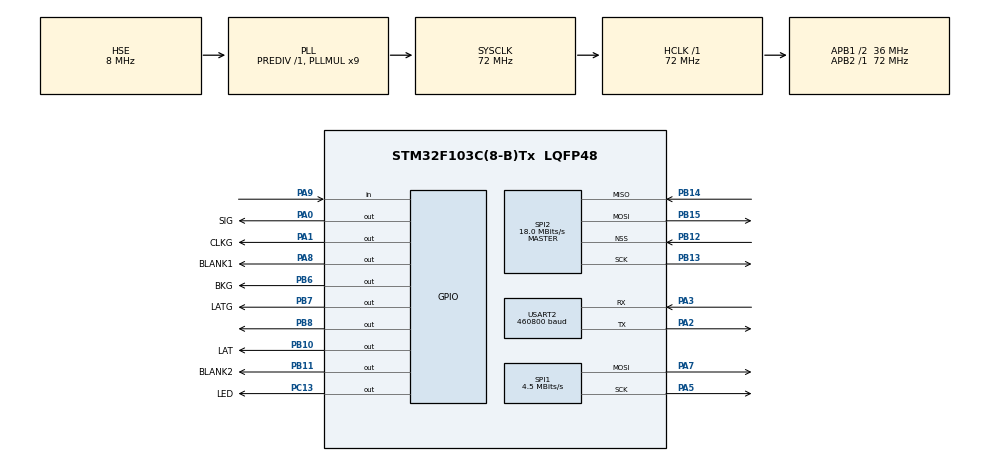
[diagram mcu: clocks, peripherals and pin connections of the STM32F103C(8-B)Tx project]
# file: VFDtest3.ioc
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Dma.Request0=SPI1_TX
Dma.SPI1_TX.0.Direction=DMA_MEMORY_TO_PERIPH
Dma.SPI1_TX.0.Instance=DMA1_Channel3
Dma.SPI1_TX.0.MemDataAlignment=DMA_MDATAALIGN_BYTE
Dma.SPI1_TX.0.MemInc=DMA_MINC_ENABLE
Dma.SPI1_TX.0.Mode=DMA_NORMAL
Dma.SPI1_TX.0.PeriphDataAlignment=DMA_PDATAALIGN_BYTE
Dma.SPI1_TX.0.PeriphInc=DMA_PINC_DISABLE
Dma.SPI1_TX.0.Priority=DMA_PRIORITY_VERY_HIGH
Mcu.Family=STM32F1
Mcu.Name=STM32F103C(8-B)Tx
Mcu.Package=LQFP48
NVIC.DMA1_Channel3_IRQn=true\:0\:0\:false\:false\:true\:false\:true\:true
NVIC.PriorityGroup=NVIC_PRIORITYGROUP_4
NVIC.TIM2_IRQn=true\:0\:0\:true\:false\:true\:true\:true\:true
NVIC.USART2_IRQn=true\:1\:0\:true\:false\:true\:true\:true\:true
PA0-WKUP.GPIO_Label=SIG
PA0-WKUP.GPIO_Speed=GPIO_SPEED_FREQ_HIGH
PA0-WKUP.Signal=GPIO_Output
PA1.GPIO_Label=CLKG
PA1.GPIO_Speed=GPIO_SPEED_FREQ_HIGH
PA1.Signal=GPIO_Output
PA13.Mode=Serial_Wire
PA13.Signal=SYS_JTMS-SWDIO
PA14.Mode=Serial_Wire
PA14.Signal=SYS_JTCK-SWCLK
PA2.Mode=Asynchronous
PA2.Signal=USART2_TX
PA3.Mode=Asynchronous
PA3.Signal=USART2_RX
PA5.Mode=TX_Only_Simplex_Unidirect_Master
PA5.Signal=SPI1_SCK
PA7.Mode=TX_Only_Simplex_Unidirect_Master
PA7.Signal=SPI1_MOSI
PA8.GPIO_Label=BLANK1
PA8.GPIO_Speed=GPIO_SPEED_FREQ_HIGH
PA8.Signal=GPIO_Output
PA9.Signal=GPIO_Input
PB10.GPIO_Label=LAT
PB10.GPIO_Speed=GPIO_SPEED_FREQ_HIGH
PB10.Signal=GPIO_Output
PB11.GPIO_Label=BLANK2
PB11.Signal=GPIO_Output
PB12.Mode=NSS_Signal_Hard_Input
PB12.Signal=SPI2_NSS
PB13.Mode=Full_Duplex_Master
PB13.Signal=SPI2_SCK
PB14.Mode=Full_Duplex_Master
PB14.Signal=SPI2_MISO
PB15.Mode=Full_Duplex_Master
PB15.Signal=SPI2_MOSI
PB6.GPIO_Label=BKG
PB6.GPIO_Speed=GPIO_SPEED_FREQ_HIGH
PB6.Signal=GPIO_Output
PB7.GPIO_Label=LATG
PB7.GPIO_Speed=GPIO_SPEED_FREQ_HIGH
PB7.Signal=GPIO_Output
PB8.GPIO_ModeDefaultOutputPP=GPIO_MODE_OUTPUT_PP
PB8.GPIO_PuPd=GPIO_NOPULL
PB8.Signal=GPIO_Output
PC13-TAMPER-RTC.GPIO_Label=LED
PC13-TAMPER-RTC.GPIO_ModeDefaultOutputPP=GPIO_MODE_OUTPUT_OD
PC13-TAMPER-RTC.GPIO_PuPd=GPIO_NOPULL
PC13-TAMPER-RTC.Signal=GPIO_Output
PD0-OSC_IN.Mode=HSE-External-Oscillator
PD0-OSC_IN.Signal=RCC_OSC_IN
PD1-OSC_OUT.Mode=HSE-External-Oscillator
PD1-OSC_OUT.Signal=RCC_OSC_OUT
ProjectManager.HeapSize=0x200
ProjectManager.StackSize=0x400
ProjectManager.TargetToolchain=STM32CubeIDE
RCC.AHBFreq_Value=72000000
RCC.APB1CLKDivider=RCC_HCLK_DIV2
RCC.APB1Freq_Value=36000000
RCC.APB1TimFreq_Value=72000000
RCC.APB2Freq_Value=72000000
RCC.APB2TimFreq_Value=72000000
RCC.HCLKFreq_Value=72000000
RCC.PLLMUL=RCC_PLL_MUL9
RCC.PLLSourceVirtual=RCC_PLLSOURCE_HSE
RCC.SYSCLKFreq_VALUE=72000000
RCC.SYSCLKSource=RCC_SYSCLKSOURCE_PLLCLK
RCC.USBFreq_Value=72000000
SPI1.BaudRatePrescaler=SPI_BAUDRATEPRESCALER_16
SPI1.CLKPhase=SPI_PHASE_2EDGE
SPI1.CLKPolarity=SPI_POLARITY_HIGH
SPI1.CalculateBaudRate=4.5 MBits/s
SPI1.Direction=SPI_DIRECTION_2LINES
SPI1.Mode=SPI_MODE_MASTER
SPI1.VirtualType=VM_MASTER
SPI2.CalculateBaudRate=18.0 MBits/s
SPI2.Direction=SPI_DIRECTION_2LINES
SPI2.Mode=SPI_MODE_MASTER
SPI2.VirtualNSS=VM_NSSHARD
SPI2.VirtualType=VM_MASTER
TIM2.Channel-Output\ Compare1\ No\ Output=TIM_CHANNEL_1
TIM2.Period=75-1
TIM2.Prescaler=36-1
USART2.BaudRate=460800
USART2.VirtualMode=VM_ASYNC
VP_TIM2_VS_ClockSourceINT.Mode=Internal
VP_TIM2_VS_no_output1.Mode=Output Compare1 No Output
board=custom

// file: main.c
/* USER CODE BEGIN Header */
/**
  ******************************************************************************
  * @file           : main.c
  * @brief          : MN12832JC Driver - High Refresh (400Hz)
  ******************************************************************************
  */
/* USER CODE END Header */
#include "main.h"

/* USER CODE BEGIN Includes */
#include <string.h>
#include <stdlib.h>
#include <stdio.h>
#include "u8g2.h"
#include <math.h>
/* USER CODE END Includes */

/* USER CODE BEGIN PTD */
typedef enum {
    ANIM_WAIT,          //filament warmup
    ANIM_DOT_TO_LINE,   //expand width
    ANIM_LINE_TO_BORDER,//expand height
    ANIM_INFO_HOLD,     //hold text
    ANIM_TEXT_COLLAPSE, //squeeze text vertically
    ANIM_SHRINK_HEIGHT, //reverse border
    ANIM_SHRINK_WIDTH,  //reverse line
    ANIM_DONE           //exit
} AnimationState;

typedef enum {
    UART_WAIT_SYNC1,
    UART_WAIT_SYNC2,
    UART_WAIT_BRIGHTNESS,
    UART_RECEIVE_DATA
} UartRxState;
/* USER CODE END PTD */

/* USER CODE BEGIN PD */
//hardware mappings
#define PORT_SIG    GPIOA
#define PIN_SIG     GPIO_PIN_0

#define PORT_CLKG   GPIOA
#define PIN_CLKG    GPIO_PIN_1

#define PORT_BLANK1 GPIOA
#define PIN_BLANK1  GPIO_PIN_8

#define PORT_BKG    GPIOB
#define PIN_BKG     GPIO_PIN_6

#define PORT_LATG   GPIOB
#define PIN_LATG    GPIO_PIN_7

#define PORT_LAT    GPIOB
#define PIN_LAT     GPIO_PIN_10

#define PORT_BLANK2 GPIOB
#define PIN_BLANK2  GPIO_PIN_11

#define PORT_TOUCH  GPIOA
#define PIN_TOUCH   GPIO_PIN_9

//fast gpio macros
#define FAST_PIN_HIGH(port, pin) (port)->BSRR = (pin)
#define FAST_PIN_LOW(port, pin)  (port)->BSRR = ((uint32_t)(pin) << 16)

//delay macros (72mhz)
#define DELAY_LAT() { \
    __NOP(); __NOP(); __NOP(); __NOP(); __NOP(); \
    __NOP(); __NOP(); __NOP(); __NOP(); __NOP(); \
    __NOP(); __NOP(); __NOP(); __NOP(); __NOP(); \
    __NOP(); __NOP(); __NOP(); __NOP(); __NOP(); \
    __NOP(); __NOP(); __NOP(); __NOP(); __NOP(); \
    __NOP(); __NOP(); __NOP(); __NOP(); __NOP(); \
}

#define DELAY_CLK() { \
    __NOP(); __NOP(); __NOP(); __NOP(); __NOP(); \
    __NOP(); __NOP(); __NOP(); __NOP(); __NOP(); \
    __NOP(); __NOP(); __NOP(); __NOP(); __NOP(); \
    __NOP(); __NOP(); __NOP(); __NOP(); __NOP(); \
}
/* USER CODE END PD */

/* USER CODE BEGIN PM */
//dwt cycle counter macros
#define DWT_CTRL   (*(volatile uint32_t *)0xE0001000)
#define DWT_CYCCNT (*(volatile uint32_t *)0xE0001004)
#define SCB_DEMCR  (*(volatile uint32_t *)0xE000EDFC)

//helper to enable the counter
#define ENABLE_CYCLES() { \
    SCB_DEMCR |= 0x01000000; \
    DWT_CYCCNT = 0; \
    DWT_CTRL |= 1; \
}
/* USER CODE END PM */

SPI_HandleTypeDef hspi1;
SPI_HandleTypeDef hspi2;
DMA_HandleTypeDef hdma_spi1_tx;

TIM_HandleTypeDef htim2;

UART_HandleTypeDef huart2;

/* USER CODE BEGIN PV */
//global u8g2 instance
u8g2_t u8g2;

//double buffered physical buffer
uint8_t vfdDmaBuffer[2][64][8];

//buffer control
volatile uint8_t activeBufferIdx = 0;
volatile uint8_t backBufferIdx = 1;
volatile uint8_t frameReady = 0;

volatile uint32_t vsyncCounter = 0;

//current grid step for muxing
volatile uint8_t timingStep = 0;

//uart reception vars
#define RX_BUFFER_SIZE 512
uint8_t rxBuffers[2][RX_BUFFER_SIZE]; //double rx buffers
volatile uint8_t rxWriteBank = 0;     //uart write buffer
volatile uint8_t rxReadBank = 1;      //main loop read buffer

uint8_t rxByte;
volatile uint8_t rxState = 0;
volatile uint16_t rxIndex = 0;
volatile uint8_t newFrameReceived = 0;

//animation config
const uint32_t animFrameWait = 2; //ticks between updates
const int animWarmupTime = 60;    //warmup duration
const int animHoldTime = 120;     //text hold duration
const float animCollapseSpeed = 0.5f;

//pid const for animation
const float Kp_W = 0.03f;
const float Kp_H = 0.05f;

//dimensions
const float dispW = 128.0f;
const float dispH = 32.0f;

volatile uint8_t globalBrightness = 255;
/* USER CODE END PV */

void SystemClock_Config(void);
static void MX_GPIO_Init(void);
static void MX_DMA_Init(void);
static void MX_SPI1_Init(void);
static void MX_TIM2_Init(void);
static void MX_SPI2_Init(void);
static void MX_USART2_UART_Init(void);
/* USER CODE BEGIN PFP */
void updateDmaBuffer(void);
uint8_t u8x8_d_vfd_128x32(u8x8_t* u8x8, uint8_t msg, uint8_t arg_int, void* arg_ptr);
uint8_t u8x8GpioAndDelayStm32(u8x8_t* u8x8, uint8_t msg, uint8_t arg_int, void* arg_ptr);

void startSequenceAnim(void);
/* USER CODE END PFP */

/* USER CODE BEGIN 0 */

void HAL_TIM_OC_DelayElapsedCallback(TIM_HandleTypeDef *htim) {
    if (htim->Instance == TIM2 && htim->Channel == HAL_TIM_ACTIVE_CHANNEL_1) {
        //unblank display
        FAST_PIN_LOW(PORT_BKG, PIN_BKG);
    }
}

uint8_t u8x8GpioAndDelayStm32(u8x8_t* u8x8, uint8_t msg, uint8_t arg_int, void* arg_ptr) {
    return 1;
}

void HAL_UART_RxCpltCallback(UART_HandleTypeDef *huart) {
    if (huart->Instance == USART2) {
        switch (rxState) {
            case UART_WAIT_SYNC1:
                if (rxByte == 0xAA) rxState = UART_WAIT_SYNC2;
                break;

            case UART_WAIT_SYNC2:
                if (rxByte == 0x55) {
                    rxState = UART_WAIT_BRIGHTNESS; //go to brightness
                } else {
                    rxState = UART_WAIT_SYNC1;
                }
                break;

            case UART_WAIT_BRIGHTNESS:
                globalBrightness = rxByte; //store brightness
                rxIndex = 0;
                rxState = UART_RECEIVE_DATA; //get data
                break;

            case UART_RECEIVE_DATA:
                rxBuffers[rxWriteBank][rxIndex++] = rxByte;
                if (rxIndex >= RX_BUFFER_SIZE) {
                    rxReadBank = rxWriteBank;
                    newFrameReceived = 1;
                    rxWriteBank ^= 1;
                    rxState = UART_WAIT_SYNC1;
                }
                break;
        }
        HAL_UART_Receive_IT(&huart2, &rxByte, 1);
    }
}

void updateDmaBuffer(void) {
    uint8_t targetBuf = backBufferIdx;
    uint8_t(*pDest)[8] = vfdDmaBuffer[targetBuf];

    //get raw u8g2 buffer
    const uint8_t* src = u8g2_GetBufferPtr(&u8g2);

    for (int t = 0; t < 64; t++) {
        //physical grid calc
        uint8_t colFirst = (t + 1) << 1;
        if (colFirst >= 128) colFirst = 0;
        uint8_t colLast = (colFirst == 0) ? 127 : colFirst - 1;

        //flip x logic
        uint8_t srcColF = 127 - colFirst;
        uint8_t srcColL = 127 - colLast;

        //fetch flipped vertical data
        uint32_t colFData =
            (src[srcColF]) |               //rows 0-7
            (src[srcColF + 128] << 8) |    //rows 8-15
            (src[srcColF + 256] << 16) |   //rows 16-23
            (src[srcColF + 384] << 24);    //rows 24-31

        uint32_t colLData =
            (src[srcColL]) |
            (src[srcColL + 128] << 8) |
            (src[srcColL + 256] << 16) |
            (src[srcColL + 384] << 24);

        //unpack into vfd format
        for (int byte = 0; byte < 8; byte++) {
            //vfd map logic
            int shift = 28 - (byte * 4);
            uint8_t packed = 0;

            //flip y because i like it upside down

            //logic row 31->phys 0
            if ((colFData >> (28 - shift)) & 1) packed |= (1 << 6);
            if ((colLData >> (28 - shift)) & 1) packed |= (1 << 7);

            //logic row 30->phys 1
            if ((colFData >> (29 - shift)) & 1) packed |= (1 << 4);
            if ((colLData >> (29 - shift)) & 1) packed |= (1 << 5);

            //logic row 29->phys 2
            if ((colFData >> (30 - shift)) & 1) packed |= (1 << 2);
            if ((colLData >> (30 - shift)) & 1) packed |= (1 << 3);

            //logic row 28->phys 3
            if ((colFData >> (31 - shift)) & 1) packed |= (1 << 0);
            if ((colLData >> (31 - shift)) & 1) packed |= (1 << 1);

            pDest[t][byte] = packed;
        }
    }
}

void HAL_TIM_PeriodElapsedCallback(TIM_HandleTypeDef* htim) {
    if (htim->Instance == TIM2) {
        //blank display start of cycle
        FAST_PIN_HIGH(PORT_BKG, PIN_BKG);

        //calc brightness on-time
        uint32_t onTime = 75 - (globalBrightness * 70 / 255);
        if (onTime < 6) onTime = 6;

        __HAL_TIM_SET_COMPARE(&htim2, TIM_CHANNEL_1, onTime);

        //vsync and swap
        if (timingStep == 64) {
            vsyncCounter++;
            if (frameReady == 1) {
                activeBufferIdx = backBufferIdx;
                backBufferIdx ^= 1;
                frameReady = 0;
            }
        }

        //load data during blank
        FAST_PIN_HIGH(PORT_LAT, PIN_LAT);
        DELAY_LAT();
        FAST_PIN_LOW(PORT_LAT, PIN_LAT);

        timingStep++;
        if (timingStep > 64) timingStep = 1;

        if (timingStep == 1 || timingStep == 2) FAST_PIN_HIGH(PORT_SIG, PIN_SIG);
        else                                    FAST_PIN_LOW(PORT_SIG, PIN_SIG);

        FAST_PIN_LOW(PORT_CLKG, PIN_CLKG);
        DELAY_CLK();
        FAST_PIN_HIGH(PORT_CLKG, PIN_CLKG);

        //mux scan line
        FAST_PIN_HIGH(PORT_BLANK1, PIN_BLANK1);
        FAST_PIN_HIGH(PORT_BLANK2, PIN_BLANK2);
        if (timingStep % 2 != 0) FAST_PIN_LOW(PORT_BLANK1, PIN_BLANK1);
        else                     FAST_PIN_LOW(PORT_BLANK2, PIN_BLANK2);

        //trigger dma
        DMA1_Channel3->CCR &= ~DMA_CCR_EN;
        DMA1->IFCR = DMA_IFCR_CGIF3;
        DMA1_Channel3->CMAR = (uint32_t)vfdDmaBuffer[activeBufferIdx][timingStep - 1];
        DMA1_Channel3->CNDTR = 8;
        DMA1_Channel3->CCR |= DMA_CCR_EN;
    }
}

void startSequenceAnim(void) {
    AnimationState animState = ANIM_WAIT;
    uint16_t timer = 0;

    //animation physics
    float animWidth = 2.0f;
    float animHeight = 2.0f;
    float textYOffset = 0.0f; //text collapse

    while (animState != ANIM_DONE) {
        //sync lock
        uint32_t targetSync = vsyncCounter + animFrameWait;

        u8g2_ClearBuffer(&u8g2);

        //warmup
        if (animState == ANIM_WAIT) {
            timer++;
            if (timer > animWarmupTime) animState = ANIM_DOT_TO_LINE;

            const char* warmupStr = "- - warming up - -";
            int strWidth = u8g2_GetStrWidth(&u8g2, warmupStr);
            u8g2_DrawStr(&u8g2, (128 - strWidth) / 2, 19, warmupStr);
        }

        //opening sequence
        else if (animState == ANIM_DOT_TO_LINE) {
            float error = dispW - animWidth;
            animWidth += error * Kp_W;

            int w = (int)animWidth;
            u8g2_DrawBox(&u8g2, 64 - (w / 2), 15, w, 2);

            if (animWidth > (dispW - 2.0f)) {
                animWidth = dispW;
                animState = ANIM_LINE_TO_BORDER;
            }
        }
        else if (animState == ANIM_LINE_TO_BORDER) {
            float error = dispH - animHeight;
            animHeight += error * Kp_H;

            int h = (int)animHeight;
            u8g2_DrawFrame(&u8g2, 0, 16 - (h / 2), (int)dispW, h);

            if (animHeight > (dispH - 1.0f)) {
                animHeight = dispH;
                timer = 0;
                animState = ANIM_INFO_HOLD;
            }
        }

        //show info
        else if (animState == ANIM_INFO_HOLD) {
            timer++;
            u8g2_DrawFrame(&u8g2, 0, 0, (int)dispW, (int)dispH);

            const char* line1 = "MN12832JC VFD Driver";
            const char* line2 = "V. 1.5.0 - Marvin Tian";

            int w1 = u8g2_GetStrWidth(&u8g2, line1);
            int w2 = u8g2_GetStrWidth(&u8g2, line2);

            u8g2_DrawStr(&u8g2, (128 - w1) / 2, 12, line1);
            u8g2_DrawStr(&u8g2, (128 - w2) / 2, 22, line2);

            if (timer > animHoldTime) {
                animState = ANIM_TEXT_COLLAPSE;
            }
        }

        //text collapse
        else if (animState == ANIM_TEXT_COLLAPSE) {
            u8g2_DrawFrame(&u8g2, 0, 0, (int)dispW, (int)dispH);

            textYOffset += animCollapseSpeed;

            int y1 = 12 + (int)textYOffset;
            int y2 = 22 - (int)textYOffset;

            const char* line1 = "MN12832JC VFD Driver";
            const char* line2 = "V. 1.5.0 - Marvin Tian";

            int w1 = u8g2_GetStrWidth(&u8g2, line1);
            int w2 = u8g2_GetStrWidth(&u8g2, line2);

            if (y1 < 18) u8g2_DrawStr(&u8g2, (128 - w1) / 2, y1, line1);
            if (y2 > 14) u8g2_DrawStr(&u8g2, (128 - w2) / 2, y2, line2);

            if (y1 >= 22) {
                animState = ANIM_SHRINK_HEIGHT;
            }
        }

        //closing sequence
        else if (animState == ANIM_SHRINK_HEIGHT) {
            float error = 2.0f - animHeight;
            animHeight += error * Kp_H;

            int h = (int)animHeight;
            if (h < 2) h = 2;

            u8g2_DrawFrame(&u8g2, 0, 16 - (h / 2), (int)dispW, h);

            if (animHeight < 3.0f) {
                animHeight = 2.0f;
                animState = ANIM_SHRINK_WIDTH;
            }
        }
        else if (animState == ANIM_SHRINK_WIDTH) {
            float error = 0.0f - animWidth;
            animWidth += error * Kp_W;

            int w = (int)animWidth;
            if (w < 0) w = 0;

            if (w > 0) {
                u8g2_DrawBox(&u8g2, 64 - (w / 2), 15, w, 2);
            }

            if (animWidth < 1.0f) {
                animState = ANIM_DONE;
            }
        }

        updateDmaBuffer();

        //request buffer swap
        frameReady = 1;

        //wait for sync
        while (vsyncCounter < targetSync) { __NOP(); }
    }

    //final cleanup
    u8g2_ClearBuffer(&u8g2);
    updateDmaBuffer();
}
/* USER CODE END 0 */

int main(void)
{

  /* MCU Configuration--------------------------------------------------------*/

  /* Reset of all peripherals, Initializes the Flash interface and the Systick. */
  HAL_Init();

  /* Configure the system clock */
  SystemClock_Config();

  /* Initialize all configured peripherals */
  MX_GPIO_Init();
  MX_DMA_Init();
  MX_SPI1_Init();
  MX_TIM2_Init();
  MX_SPI2_Init();
  MX_USART2_UART_Init();
  /* USER CODE BEGIN 2 */
      //startup blink
      for(int i = 0; i < 6; i++) {
          HAL_GPIO_TogglePin(LED_GPIO_Port, LED_Pin);
          HAL_Delay(50);
      }

      __HAL_SPI_ENABLE(&hspi1);
      SPI1->CR2 |= SPI_CR2_TXDMAEN;

      //dma config
      DMA1_Channel3->CCR = 0;
      DMA1_Channel3->CPAR = (uint32_t) & (SPI1->DR);
      DMA1_Channel3->CMAR = 0;
      DMA1_Channel3->CNDTR = 8;

      //minc enable
      uint32_t config = DMA_CCR_MINC | DMA_CCR_DIR | (0x2 << 12);
      DMA1_Channel3->CCR = config;

      HAL_GPIO_WritePin(PORT_LATG, PIN_LATG, GPIO_PIN_SET);
      HAL_GPIO_WritePin(PORT_CLKG, PIN_CLKG, GPIO_PIN_SET);
      HAL_GPIO_WritePin(PORT_BLANK1, PIN_BLANK1, GPIO_PIN_SET);
      HAL_GPIO_WritePin(PORT_BLANK2, PIN_BLANK2, GPIO_PIN_SET);
      HAL_GPIO_WritePin(PORT_BKG, PIN_BKG, GPIO_PIN_RESET);

      ENABLE_CYCLES();

      //u8g2 init
      u8g2_Setup_ssd1306_128x32_univision_f(
          &u8g2,
          U8G2_R0,
          u8x8_byte_empty,
          u8x8GpioAndDelayStm32
      );

      //wake up
      u8g2_InitDisplay(&u8g2);
      u8g2_SetPowerSave(&u8g2, 0);

      //set font
      u8g2_SetFont(&u8g2, u8g2_font_4x6_tr);

      //start hardware
      updateDmaBuffer();
      HAL_TIM_Base_Start_IT(&htim2);              // Starts PeriodElapsed (Turn OFF)
      HAL_TIM_OC_Start_IT(&htim2, TIM_CHANNEL_1);

      //enable hv boost
      HAL_GPIO_WritePin(GPIOB, GPIO_PIN_8, GPIO_PIN_SET);

      //play startup sequence
      startSequenceAnim();

      //start rx interrupt
      HAL_UART_Receive_IT(&huart2, &rxByte, 1);

  /* USER CODE END 2 */

  /* Infinite loop */
  /* USER CODE BEGIN WHILE */
    while (1)
        {
            //copy new packet
            if (newFrameReceived) {
                 uint8_t* u8g2Ptr = u8g2_GetBufferPtr(&u8g2);
                 __disable_irq();
                 uint8_t targetBank = rxReadBank;
                 __enable_irq();
                 memcpy(u8g2Ptr, rxBuffers[targetBank], RX_BUFFER_SIZE);
                 newFrameReceived = 0;
            }

            //update driver buffer
            updateDmaBuffer();

            //wait for vsync
            frameReady = 1;
            while (frameReady == 1) { __NOP(); }
        }
    /* USER CODE END WHILE */

}

void SystemClock_Config(void)
{
  RCC_OscInitTypeDef RCC_OscInitStruct = {0};
  RCC_ClkInitTypeDef RCC_ClkInitStruct = {0};

  /** Initializes the RCC Oscillators according to the specified parameters
  * in the RCC_OscInitTypeDef structure.
  */
  RCC_OscInitStruct.OscillatorType = RCC_OSCILLATORTYPE_HSE;
  RCC_OscInitStruct.HSEState = RCC_HSE_ON;
  RCC_OscInitStruct.HSEPredivValue = RCC_HSE_PREDIV_DIV1;
  RCC_OscInitStruct.HSIState = RCC_HSI_ON;
  RCC_OscInitStruct.PLL.PLLState = RCC_PLL_ON;
  RCC_OscInitStruct.PLL.PLLSource = RCC_PLLSOURCE_HSE;
  RCC_OscInitStruct.PLL.PLLMUL = RCC_PLL_MUL9;
  if (HAL_RCC_OscConfig(&RCC_OscInitStruct) != HAL_OK)
  {
    Error_Handler();
  }

  /** Initializes the CPU, AHB and APB buses clocks
  */
  RCC_ClkInitStruct.ClockType = RCC_CLOCKTYPE_HCLK|RCC_CLOCKTYPE_SYSCLK
                              |RCC_CLOCKTYPE_PCLK1|RCC_CLOCKTYPE_PCLK2;
  RCC_ClkInitStruct.SYSCLKSource = RCC_SYSCLKSOURCE_PLLCLK;
  RCC_ClkInitStruct.AHBCLKDivider = RCC_SYSCLK_DIV1;
  RCC_ClkInitStruct.APB1CLKDivider = RCC_HCLK_DIV2;
  RCC_ClkInitStruct.APB2CLKDivider = RCC_HCLK_DIV1;

  if (HAL_RCC_ClockConfig(&RCC_ClkInitStruct, FLASH_LATENCY_2) != HAL_OK)
  {
    Error_Handler();
  }
}

static void MX_SPI1_Init(void)
{

  /* SPI1 parameter configuration*/
  hspi1.Instance = SPI1;
  hspi1.Init.Mode = SPI_MODE_MASTER;
  hspi1.Init.Direction = SPI_DIRECTION_2LINES;
  hspi1.Init.DataSize = SPI_DATASIZE_8BIT;
  hspi1.Init.CLKPolarity = SPI_POLARITY_HIGH;
  hspi1.Init.CLKPhase = SPI_PHASE_2EDGE;
  hspi1.Init.NSS = SPI_NSS_SOFT;
  hspi1.Init.BaudRatePrescaler = SPI_BAUDRATEPRESCALER_16;
  hspi1.Init.FirstBit = SPI_FIRSTBIT_MSB;
  hspi1.Init.TIMode = SPI_TIMODE_DISABLE;
  hspi1.Init.CRCCalculation = SPI_CRCCALCULATION_DISABLE;
  hspi1.Init.CRCPolynomial = 10;
  if (HAL_SPI_Init(&hspi1) != HAL_OK)
  {
    Error_Handler();
  }

}

static void MX_SPI2_Init(void)
{

  /* SPI2 parameter configuration*/
  hspi2.Instance = SPI2;
  hspi2.Init.Mode = SPI_MODE_MASTER;
  hspi2.Init.Direction = SPI_DIRECTION_2LINES;
  hspi2.Init.DataSize = SPI_DATASIZE_8BIT;
  hspi2.Init.CLKPolarity = SPI_POLARITY_LOW;
  hspi2.Init.CLKPhase = SPI_PHASE_1EDGE;
  hspi2.Init.NSS = SPI_NSS_HARD_INPUT;
  hspi2.Init.BaudRatePrescaler = SPI_BAUDRATEPRESCALER_2;
  hspi2.Init.FirstBit = SPI_FIRSTBIT_MSB;
  hspi2.Init.TIMode = SPI_TIMODE_DISABLE;
  hspi2.Init.CRCCalculation = SPI_CRCCALCULATION_DISABLE;
  hspi2.Init.CRCPolynomial = 10;
  if (HAL_SPI_Init(&hspi2) != HAL_OK)
  {
    Error_Handler();
  }

}

static void MX_TIM2_Init(void)
{

  TIM_ClockConfigTypeDef sClockSourceConfig = {0};
  TIM_MasterConfigTypeDef sMasterConfig = {0};
  TIM_OC_InitTypeDef sConfigOC = {0};

  htim2.Instance = TIM2;
  htim2.Init.Prescaler = 36-1;
  htim2.Init.CounterMode = TIM_COUNTERMODE_UP;
  htim2.Init.Period = 75-1;
  htim2.Init.ClockDivision = TIM_CLOCKDIVISION_DIV1;
  htim2.Init.AutoReloadPreload = TIM_AUTORELOAD_PRELOAD_DISABLE;
  if (HAL_TIM_Base_Init(&htim2) != HAL_OK)
  {
    Error_Handler();
  }
  sClockSourceConfig.ClockSource = TIM_CLOCKSOURCE_INTERNAL;
  if (HAL_TIM_ConfigClockSource(&htim2, &sClockSourceConfig) != HAL_OK)
  {
    Error_Handler();
  }
  if (HAL_TIM_OC_Init(&htim2) != HAL_OK)
  {
    Error_Handler();
  }
  sMasterConfig.MasterOutputTrigger = TIM_TRGO_RESET;
  sMasterConfig.MasterSlaveMode = TIM_MASTERSLAVEMODE_DISABLE;
  if (HAL_TIMEx_MasterConfigSynchronization(&htim2, &sMasterConfig) != HAL_OK)
  {
    Error_Handler();
  }
  sConfigOC.OCMode = TIM_OCMODE_TIMING;
  sConfigOC.Pulse = 0;
  sConfigOC.OCPolarity = TIM_OCPOLARITY_HIGH;
  sConfigOC.OCFastMode = TIM_OCFAST_DISABLE;
  if (HAL_TIM_OC_ConfigChannel(&htim2, &sConfigOC, TIM_CHANNEL_1) != HAL_OK)
  {
    Error_Handler();
  }

}

static void MX_USART2_UART_Init(void)
{

  huart2.Instance = USART2;
  huart2.Init.BaudRate = 460800;
  huart2.Init.WordLength = UART_WORDLENGTH_8B;
  huart2.Init.StopBits = UART_STOPBITS_1;
  huart2.Init.Parity = UART_PARITY_NONE;
  huart2.Init.Mode = UART_MODE_TX_RX;
  huart2.Init.HwFlowCtl = UART_HWCONTROL_NONE;
  huart2.Init.OverSampling = UART_OVERSAMPLING_16;
  if (HAL_UART_Init(&huart2) != HAL_OK)
  {
    Error_Handler();
  }

}

static void MX_DMA_Init(void)
{

  /* DMA controller clock enable */
  __HAL_RCC_DMA1_CLK_ENABLE();

  /* DMA interrupt init */
  /* DMA1_Channel3_IRQn interrupt configuration */
  HAL_NVIC_SetPriority(DMA1_Channel3_IRQn, 0, 0);
  HAL_NVIC_EnableIRQ(DMA1_Channel3_IRQn);

}

static void MX_GPIO_Init(void)
{
  GPIO_InitTypeDef GPIO_InitStruct = {0};

  /* GPIO Ports Clock Enable */
  __HAL_RCC_GPIOC_CLK_ENABLE();
  __HAL_RCC_GPIOD_CLK_ENABLE();
  __HAL_RCC_GPIOA_CLK_ENABLE();
  __HAL_RCC_GPIOB_CLK_ENABLE();

  /*Configure GPIO pin Output Level */
  HAL_GPIO_WritePin(LED_GPIO_Port, LED_Pin, GPIO_PIN_RESET);

  /*Configure GPIO pin Output Level */
  HAL_GPIO_WritePin(GPIOA, SIG_Pin|CLKG_Pin|BLANK1_Pin, GPIO_PIN_RESET);

  /*Configure GPIO pin Output Level */
  HAL_GPIO_WritePin(GPIOB, LAT_Pin|BLANK2_Pin|BKG_Pin|LATG_Pin
                          |GPIO_PIN_8, GPIO_PIN_RESET);

  /*Configure GPIO pin : LED_Pin */
  GPIO_InitStruct.Pin = LED_Pin;
  GPIO_InitStruct.Mode = GPIO_MODE_OUTPUT_OD;
  GPIO_InitStruct.Pull = GPIO_NOPULL;
  GPIO_InitStruct.Speed = GPIO_SPEED_FREQ_LOW;
  HAL_GPIO_Init(LED_GPIO_Port, &GPIO_InitStruct);

  /*Configure GPIO pins : SIG_Pin CLKG_Pin BLANK1_Pin */
  GPIO_InitStruct.Pin = SIG_Pin|CLKG_Pin|BLANK1_Pin;
  GPIO_InitStruct.Mode = GPIO_MODE_OUTPUT_PP;
  GPIO_InitStruct.Pull = GPIO_NOPULL;
  GPIO_InitStruct.Speed = GPIO_SPEED_FREQ_HIGH;
  HAL_GPIO_Init(GPIOA, &GPIO_InitStruct);

  /*Configure GPIO pins : LAT_Pin BKG_Pin LATG_Pin */
  GPIO_InitStruct.Pin = LAT_Pin|BKG_Pin|LATG_Pin;
  GPIO_InitStruct.Mode = GPIO_MODE_OUTPUT_PP;
  GPIO_InitStruct.Pull = GPIO_NOPULL;
  GPIO_InitStruct.Speed = GPIO_SPEED_FREQ_HIGH;
  HAL_GPIO_Init(GPIOB, &GPIO_InitStruct);

  /*Configure GPIO pins : BLANK2_Pin PB8 */
  GPIO_InitStruct.Pin = BLANK2_Pin|GPIO_PIN_8;
  GPIO_InitStruct.Mode = GPIO_MODE_OUTPUT_PP;
  GPIO_InitStruct.Pull = GPIO_NOPULL;
  GPIO_InitStruct.Speed = GPIO_SPEED_FREQ_LOW;
  HAL_GPIO_Init(GPIOB, &GPIO_InitStruct);

  /*Configure GPIO pin : PA9 */
  GPIO_InitStruct.Pin = GPIO_PIN_9;
  GPIO_InitStruct.Mode = GPIO_MODE_INPUT;
  GPIO_InitStruct.Pull = GPIO_NOPULL;
  HAL_GPIO_Init(GPIOA, &GPIO_InitStruct);

}

void Error_Handler(void)
{
    __disable_irq();
    while (1)
    {
    }
}
